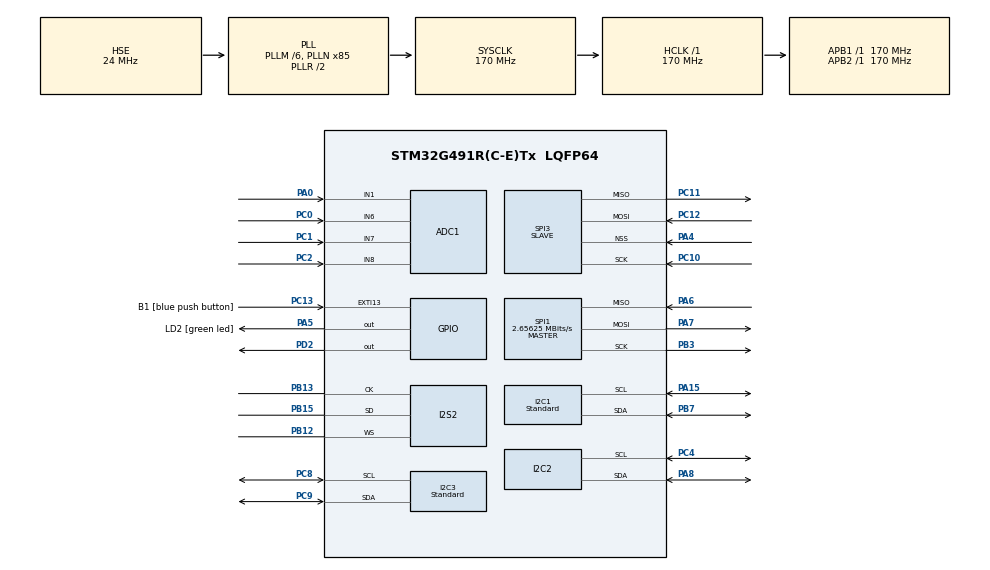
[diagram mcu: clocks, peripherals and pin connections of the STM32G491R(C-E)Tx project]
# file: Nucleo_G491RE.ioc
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ADC1.Channel-0\#ChannelRegularConversion=ADC_CHANNEL_1
ADC1.Channel-1\#ChannelRegularConversion=ADC_CHANNEL_6
ADC1.Channel-2\#ChannelRegularConversion=ADC_CHANNEL_7
ADC1.Channel-3\#ChannelRegularConversion=ADC_CHANNEL_8
ADC1.NbrOfConversion=4
ADC1.NbrOfConversionFlag=1
ADC1.OffsetNumber-0\#ChannelRegularConversion=ADC_OFFSET_NONE
ADC1.OffsetNumber-1\#ChannelRegularConversion=ADC_OFFSET_NONE
ADC1.OffsetNumber-2\#ChannelRegularConversion=ADC_OFFSET_NONE
ADC1.OffsetNumber-3\#ChannelRegularConversion=ADC_OFFSET_NONE
ADC1.Rank-0\#ChannelRegularConversion=1
ADC1.Rank-1\#ChannelRegularConversion=2
ADC1.Rank-2\#ChannelRegularConversion=3
ADC1.Rank-3\#ChannelRegularConversion=4
ADC1.SamplingTime-0\#ChannelRegularConversion=ADC_SAMPLETIME_92CYCLES_5
ADC1.SamplingTime-1\#ChannelRegularConversion=ADC_SAMPLETIME_92CYCLES_5
ADC1.SamplingTime-2\#ChannelRegularConversion=ADC_SAMPLETIME_92CYCLES_5
ADC1.SamplingTime-3\#ChannelRegularConversion=ADC_SAMPLETIME_92CYCLES_5
ADC1.master=1
Dma.Request0=SPI3_RX
Dma.Request1=SPI3_TX
Dma.Request2=SPI2_RX
Dma.SPI2_RX.2.Direction=DMA_PERIPH_TO_MEMORY
Dma.SPI2_RX.2.EventEnable=DISABLE
Dma.SPI2_RX.2.Instance=DMA1_Channel1
Dma.SPI2_RX.2.MemDataAlignment=DMA_MDATAALIGN_HALFWORD
Dma.SPI2_RX.2.MemInc=DMA_MINC_ENABLE
Dma.SPI2_RX.2.Mode=DMA_NORMAL
Dma.SPI2_RX.2.PeriphDataAlignment=DMA_PDATAALIGN_WORD
Dma.SPI2_RX.2.PeriphInc=DMA_PINC_DISABLE
Dma.SPI2_RX.2.Polarity=HAL_DMAMUX_REQ_GEN_RISING
Dma.SPI2_RX.2.Priority=DMA_PRIORITY_LOW
Dma.SPI2_RX.2.RequestNumber=1
Dma.SPI2_RX.2.SignalID=NONE
Dma.SPI2_RX.2.SyncEnable=DISABLE
Dma.SPI2_RX.2.SyncPolarity=HAL_DMAMUX_SYNC_NO_EVENT
Dma.SPI2_RX.2.SyncRequestNumber=1
Dma.SPI2_RX.2.SyncSignalID=NONE
Dma.SPI3_RX.0.Direction=DMA_PERIPH_TO_MEMORY
Dma.SPI3_RX.0.EventEnable=DISABLE
Dma.SPI3_RX.0.Instance=DMA2_Channel1
Dma.SPI3_RX.0.MemDataAlignment=DMA_MDATAALIGN_BYTE
Dma.SPI3_RX.0.MemInc=DMA_MINC_ENABLE
Dma.SPI3_RX.0.Mode=DMA_NORMAL
Dma.SPI3_RX.0.PeriphDataAlignment=DMA_PDATAALIGN_BYTE
Dma.SPI3_RX.0.PeriphInc=DMA_PINC_DISABLE
Dma.SPI3_RX.0.Polarity=HAL_DMAMUX_REQ_GEN_RISING
Dma.SPI3_RX.0.Priority=DMA_PRIORITY_LOW
Dma.SPI3_RX.0.RequestNumber=1
Dma.SPI3_RX.0.SignalID=NONE
Dma.SPI3_RX.0.SyncEnable=DISABLE
Dma.SPI3_RX.0.SyncPolarity=HAL_DMAMUX_SYNC_NO_EVENT
Dma.SPI3_RX.0.SyncRequestNumber=1
Dma.SPI3_RX.0.SyncSignalID=NONE
Dma.SPI3_TX.1.Direction=DMA_MEMORY_TO_PERIPH
Dma.SPI3_TX.1.EventEnable=DISABLE
Dma.SPI3_TX.1.Instance=DMA2_Channel2
Dma.SPI3_TX.1.MemDataAlignment=DMA_MDATAALIGN_BYTE
Dma.SPI3_TX.1.MemInc=DMA_MINC_ENABLE
Dma.SPI3_TX.1.Mode=DMA_NORMAL
Dma.SPI3_TX.1.PeriphDataAlignment=DMA_PDATAALIGN_BYTE
Dma.SPI3_TX.1.PeriphInc=DMA_PINC_DISABLE
Dma.SPI3_TX.1.Polarity=HAL_DMAMUX_REQ_GEN_RISING
Dma.SPI3_TX.1.Priority=DMA_PRIORITY_LOW
Dma.SPI3_TX.1.RequestNumber=1
Dma.SPI3_TX.1.SignalID=NONE
Dma.SPI3_TX.1.SyncEnable=DISABLE
Dma.SPI3_TX.1.SyncPolarity=HAL_DMAMUX_SYNC_NO_EVENT
Dma.SPI3_TX.1.SyncRequestNumber=1
Dma.SPI3_TX.1.SyncSignalID=NONE
FREERTOS.Tasks01=SPIslaveTask,-2,128,StartSPIslaveTask,Default,NULL,Dynamic,NULL,NULL;IdleTask,-3,128,StartIdleTask,Default,NULL,Dynamic,NULL,NULL;IMUTask,-3,256,StartIMUTask,Default,NULL,Dynamic,NULL,NULL;ADCTask,-3,128,StartADCTask,Default,NULL,Dynamic,NULL,NULL;TXBUFFTask,-3,128,StartTXBUFFTask,Default,NULL,Dynamic,NULL,NULL;PSTask,-3,128,StartPSTask,Default,NULL,Dynamic,NULL,NULL;SerialTask,-3,128,StartSerialTask,Default,NULL,Dynamic,NULL,NULL
FREERTOS.Timers01=I2STimer,I2SCallback,osTimerPeriodic,Default,NULL,Dynamic,NULL;SPISlaveTimer,SPISlaveCallback,osTimerPeriodic,Default,NULL,Dynamic,NULL
FREERTOS.configTOTAL_HEAP_SIZE=10000
FREERTOS.configUSE_TIMERS=1
I2C1.I2C_Speed_Mode=I2C_Standard
I2C1.Speed=100
I2C1.Timing=0x30A0A7FB
I2C2.Timing=0x30A0A7FB
I2C3.I2C_Speed_Mode=I2C_Standard
I2C3.Timing=0x30A0A7FB
I2S2.AudioFreq=AudioFreqCustomValue
I2S2.AudioFreqCustom=64000
I2S2.DataFormat=I2S_DATAFORMAT_24B
I2S2.ErrorAudioFreq=-2.34 %
I2S2.FullDuplexMode=I2S_FULLDUPLEXMODE_DISABLE
I2S2.Instance=SPI$Index
I2S2.Mode=I2S_MODE_MASTER_RX
I2S2.RealAudioFreq=62.5 KHz
I2S2.VirtualMode=I2S_MODE_MASTER
Mcu.Family=STM32G4
Mcu.Name=STM32G491R(C-E)Tx
Mcu.Package=LQFP64
NVIC.DMA1_Channel1_IRQn=true\:0\:0\:false\:false\:true\:false\:false\:true
NVIC.DMA2_Channel1_IRQn=true\:5\:0\:false\:false\:true\:true\:false\:true
NVIC.DMA2_Channel2_IRQn=true\:5\:0\:false\:false\:true\:false\:false\:true
NVIC.EXTI15_10_IRQn=true\:5\:0\:false\:false\:true\:true\:true\:true
NVIC.I2C1_EV_IRQn=true\:5\:0\:false\:false\:true\:true\:true\:true
NVIC.I2C3_EV_IRQn=true\:5\:0\:false\:false\:true\:true\:true\:true
NVIC.PriorityGroup=NVIC_PRIORITYGROUP_4
NVIC.SPI2_IRQn=true\:5\:0\:false\:false\:true\:true\:true\:true
NVIC.TIM1_UP_TIM16_IRQn=true\:0\:0\:false\:false\:true\:false\:false\:true
NVIC.TimeBase=TIM1_UP_TIM16_IRQn
NVIC.TimeBaseIP=TIM1
PA0.Mode=IN1-Single-Ended
PA0.Signal=ADC1_IN1
PA13.GPIO_Label=T_SWDIO
PA13.Mode=Serial_Wire
PA13.Signal=SYS_JTMS-SWDIO
PA14.GPIO_Label=T_SWCLK
PA14.Mode=Serial_Wire
PA14.Signal=SYS_JTCK-SWCLK
PA15.Mode=I2C
PA15.Signal=I2C1_SCL
PA3.GPIO_Label=LPUART1_RX [STLINKV3E_VCP_TX]
PA3.Signal=LPUART1_RX
PA4.Mode=NSS_Signal_Hard_Input
PA4.Signal=SPI3_NSS
PA5.GPIO_Label=LD2 [green led]
PA5.Signal=GPIO_Output
PA6.Mode=Full_Duplex_Master
PA6.Signal=SPI1_MISO
PA7.Mode=Full_Duplex_Master
PA7.Signal=SPI1_MOSI
PA8.Mode=I2C
PA8.Signal=I2C2_SDA
PB12.Mode=Half_Duplex_Master
PB12.Signal=I2S2_WS
PB13.Mode=Half_Duplex_Master
PB13.Signal=I2S2_CK
PB14.Signal=SPI2_MISO
PB15.Mode=Half_Duplex_Master
PB15.Signal=I2S2_SD
PB3.Mode=Full_Duplex_Master
PB3.Signal=SPI1_SCK
PB7.Mode=I2C
PB7.Signal=I2C1_SDA
PC0.Mode=IN6-Single-Ended
PC0.Signal=ADC1_IN6
PC1.Mode=IN7-Single-Ended
PC1.Signal=ADC1_IN7
PC10.Mode=Full_Duplex_Slave
PC10.Signal=SPI3_SCK
PC11.Mode=Full_Duplex_Slave
PC11.Signal=SPI3_MISO
PC12.Mode=Full_Duplex_Slave
PC12.Signal=SPI3_MOSI
PC13.GPIO_Label=B1 [blue push button]
PC13.Signal=GPXTI13
PC14-OSC32_IN.Mode=LSE-External-Oscillator
PC14-OSC32_IN.Signal=RCC_OSC32_IN
PC15-OSC32_OUT.Mode=LSE-External-Oscillator
PC15-OSC32_OUT.Signal=RCC_OSC32_OUT
PC2.Mode=IN8-Single-Ended
PC2.Signal=ADC1_IN8
PC4.Mode=I2C
PC4.Signal=I2C2_SCL
PC8.Mode=I2C
PC8.Signal=I2C3_SCL
PC9.Mode=I2C
PC9.Signal=I2C3_SDA
PD2.Signal=GPIO_Output
PF0-OSC_IN.Mode=HSE-External-Oscillator
PF0-OSC_IN.Signal=RCC_OSC_IN
PF1-OSC_OUT.Mode=HSE-External-Oscillator
PF1-OSC_OUT.Signal=RCC_OSC_OUT
ProjectManager.HeapSize=0x200
ProjectManager.StackSize=0x400
ProjectManager.TargetToolchain=STM32CubeIDE
RCC.ADC12Freq_Value=170000000
RCC.ADC345Freq_Value=170000000
RCC.AHBFreq_Value=170000000
RCC.APB1Freq_Value=170000000
RCC.APB1TimFreq_Value=170000000
RCC.APB2Freq_Value=170000000
RCC.APB2TimFreq_Value=170000000
RCC.CortexFreq_Value=170000000
RCC.EXTERNAL_CLOCK_VALUE=12288000
RCC.HCLKFreq_Value=170000000
RCC.HSE_VALUE=24000000
RCC.HSI48_VALUE=48000000
RCC.HSI_VALUE=16000000
RCC.I2SCLockSelection=RCC_I2SCLKSOURCE_HSI
RCC.PLLM=RCC_PLLM_DIV6
RCC.PLLN=85
RCC.PLLSourceVirtual=RCC_PLLSOURCE_HSE
RCC.RTCClockSelection=RCC_RTCCLKSOURCE_LSE
RCC.SYSCLKFreq_VALUE=170000000
RCC.SYSCLKSource=RCC_SYSCLKSOURCE_PLLCLK
RCC.USBFreq_Value=48000000
RCC.VCOOutputFreq_Value=340000000
SPI1.BaudRatePrescaler=SPI_BAUDRATEPRESCALER_64
SPI1.CalculateBaudRate=2.65625 MBits/s
SPI1.Direction=SPI_DIRECTION_2LINES
SPI1.Mode=SPI_MODE_MASTER
SPI1.VirtualType=VM_MASTER
SPI3.Direction=SPI_DIRECTION_2LINES
SPI3.Mode=SPI_MODE_SLAVE
SPI3.VirtualNSS=VM_NSSHARD
SPI3.VirtualType=VM_SLAVE
VP_FREERTOS_VS_CMSIS_V1.Mode=CMSIS_V1
VP_SYS_VS_DBSignals.Mode=DisableDeadBatterySignals
VP_SYS_VS_tim1.Mode=TIM1
VP_TIM2_VS_ClockSourceINT.Mode=Internal
board=NUCLEO-G491RE

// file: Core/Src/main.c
/* USER CODE BEGIN Header */
/**
  ******************************************************************************
  * @file           : main.c
  * @brief          : Main program body
  ******************************************************************************
  * @attention
  *
  * <h2><center>&copy; Copyright (c) 2022 STMicroelectronics.
  * All rights reserved.</center></h2>
  *
  * This software component is licensed by ST under BSD 3-Clause license,
  * the "License"; You may not use this file except in compliance with the
  * License. You may obtain a copy of the License at:
  *                        opensource.org/licenses/BSD-3-Clause
  *
  ******************************************************************************
  */
/* USER CODE END Header */
#include "main.h"
#include "cmsis_os.h"

/* USER CODE BEGIN Includes */
#include "sensor.h"
/* USER CODE END Includes */

ADC_HandleTypeDef hadc1;

I2C_HandleTypeDef hi2c1;
I2C_HandleTypeDef hi2c2;
I2C_HandleTypeDef hi2c3;

I2S_HandleTypeDef hi2s2;
DMA_HandleTypeDef hdma_spi2_rx;

SPI_HandleTypeDef hspi1;
SPI_HandleTypeDef hspi3;
DMA_HandleTypeDef hdma_spi3_rx;
DMA_HandleTypeDef hdma_spi3_tx;

TIM_HandleTypeDef htim2;

osThreadId SPIslaveTaskHandle;
osThreadId IdleTaskHandle;
osThreadId IMUTaskHandle;
osThreadId ADCTaskHandle;
osThreadId TXBUFFTaskHandle;
osThreadId PSTaskHandle;
osThreadId SerialTaskHandle;
osTimerId I2STimerHandle;
osTimerId SPISlaveTimerHandle;
/* USER CODE BEGIN PV */
uint8_t rxBuffer[1] = {};
uint8_t txBuffer[44] = {};
/* USER CODE END PV */

void SystemClock_Config(void);
static void MX_GPIO_Init(void);
static void MX_DMA_Init(void);
static void MX_ADC1_Init(void);
static void MX_I2C1_Init(void);
static void MX_I2C2_Init(void);
static void MX_I2S2_Init(void);
static void MX_SPI3_Init(void);
static void MX_TIM2_Init(void);
static void MX_I2C3_Init(void);
static void MX_SPI1_Init(void);
void StartSPIslaveTask(void const * argument);
void StartIdleTask(void const * argument);
void StartIMUTask(void const * argument);
void StartADCTask(void const * argument);
void StartTXBUFFTask(void const * argument);
void StartPSTask(void const * argument);
void StartSerialTask(void const * argument);
void I2SCallback(void const * argument);
void SPISlaveCallback(void const * argument);

/* USER CODE BEGIN PFP */
void mpuWrite(uint8_t, uint8_t);
void imu_init();
void imu_init_i2c();
void imu_update();
void imu_update_i2c();
void imu_update_i2c_DMA_gyro();
void adc_init();
void adc_update();
void ps_init();
void ps_update();
void txbuff_update();
void *memset();
int sprintf();
/* USER CODE END PFP */

/* USER CODE BEGIN 0 */

// PR2に送信したいuint16型の数字を、uint8型の数字2つに分解する。
// 引数のvalは分解元のuint16型の数字
// 引数のdigitは分解された2つ数字のうち上から何番目を取り出すか
uint8_t decomposeDigit(uint16_t val, uint8_t digit){
	uint8_t num;
	num = val >> ((1 - digit) * 8);
	return num;
}

// PR2に送信したいuint16型の数字を、グローバル変数txBuffer[44]に格納する
// 引数のvalは、PR2に送信したいuint16型の数字
// 引数のidxは、PR2のトピック(/pressure/l(r)_gripper_motor)の配列の何番目にvalを格納するか。
// idx = 0, 1, 2, ... 21
// 44個の要素は2個で1つの数字となり、PR2に送信される。
// 1つの数字を2要素に分解するための関数がdecomposeDigit()
void setTxBuffer(uint16_t val, uint8_t idx) {
	for(int i = 0; i < 2; i++) {
	    txBuffer[idx * 2 + i] = decomposeDigit(val, i);
	}
}

float getTimeUs(uint32_t count)
{
  float us = 1000000 * (float)count / (float)SystemCoreClock;
  return us;
}

float getTimeMs(uint32_t count)
{
  float ms = 1000 * (float)count / (float)SystemCoreClock;
  return ms;
}

/* USER CODE END 0 */

int main(void)
{

  /* MCU Configuration--------------------------------------------------------*/

  /* Reset of all peripherals, Initializes the Flash interface and the Systick. */
  HAL_Init();

  /* Configure the system clock */
  SystemClock_Config();

  /* Initialize all configured peripherals */
  MX_GPIO_Init();
  MX_DMA_Init();
  MX_ADC1_Init();
  MX_I2C1_Init();
  MX_I2C2_Init();
  MX_I2S2_Init();
  MX_SPI3_Init();
  MX_TIM2_Init();
  MX_I2C3_Init();
  MX_SPI1_Init();
  /* USER CODE BEGIN 2 */
  sp.imu_select = SELECT_ICM_42688_SPI;
  sp.flag = 0;
  sp.error_count = 0;
  sp.rx_counter = 0;
  sp.i2c1_dma_flag = 0x00;
  sp.imu_dma_en = 0x00;
  sp.imu_prev_frame = 0;
  sp.imu_count_frame = 0;
  sp.ps_dma[0] = 0;
  sp.ps_dma[1] = 0;
  //HAL_I2S_DeInit(&hi2s2);
  //HAL_I2S_Init(&hi2s2);
  if(sp.imu_select == SELECT_ICM_20600 || sp.imu_select == SELECT_ICM_42605 || sp.imu_select == SELECT_ICM_42688_SPI){
#if IMU_SPI_MODE
	  imu_init(&hspi1);
#endif
  }else if(sp.imu_select == SELECT_ICM_42688_I2C){
	  //imu_init_i2c(&hi2c1);
	  //imu_init_i2c(&hi2c2);
	  imu_init_i2c(&hi2c3);
  }
  ps_init(&hi2c1);
  memset(sp.txbuff, 0, sizeof(sp.txbuff));

  // /pressure/l(r)_gripper_motor values will be
  // [0, 100, 200, 300, ..., 2100]
  for(int i = 0; i < 22; i++) {
	  setTxBuffer(i*100, i);
  }

  for(int i=0;i<3;i++){
	  sp.acc_print[i] = 0;
	  sp.gyro_print[i] = 0;
  }

#if MIC_DMA
  HAL_I2S_Receive_DMA( &hi2s2, (uint16_t*)&sp.i2s_rx_buff, MIC_BUFF_SIZE);
#endif
  //int8_t ret = HAL_I2S_Receive( &hi2s2, (uint16_t*)&sp.i2s_rx_buff, MIC_BUFF_SIZE ,1);

  /* USER CODE END 2 */

  /* Create the timer(s) */
  /* definition and creation of I2STimer */
  osTimerDef(I2STimer, I2SCallback);
  I2STimerHandle = osTimerCreate(osTimer(I2STimer), osTimerPeriodic, NULL);

  /* definition and creation of SPISlaveTimer */
  osTimerDef(SPISlaveTimer, SPISlaveCallback);
  SPISlaveTimerHandle = osTimerCreate(osTimer(SPISlaveTimer), osTimerPeriodic, NULL);

  /* USER CODE BEGIN RTOS_TIMERS */
  //osTimerStart(I2STimerHandle, MIC_PERIOD);
#if	!UPDATE_SINGLE_THREAD
#if MIC_TIMER
  uint32_t period = 2.0 * 1000 * MIC_BUFF_SIZE / (hi2s2.Init.AudioFreq);//[ms]
  //osTimerStart(I2STimerHandle, MIC_PERIOD);
  osTimerStart(I2STimerHandle, period);
#endif
#endif
#if SPI_SLAVE
#if  TIMER_SPISLAVE
  osTimerStart(SPISlaveTimerHandle, SPISLAVE_PERIOD);
#endif
#endif
  /* USER CODE END RTOS_TIMERS */

  /* Create the thread(s) */
  /* definition and creation of SPIslaveTask */
  osThreadDef(SPIslaveTask, StartSPIslaveTask, osPriorityLow, 0, 128);
  SPIslaveTaskHandle = osThreadCreate(osThread(SPIslaveTask), NULL);

  /* definition and creation of IdleTask */
  osThreadDef(IdleTask, StartIdleTask, osPriorityIdle, 0, 128);
  IdleTaskHandle = osThreadCreate(osThread(IdleTask), NULL);

  /* definition and creation of IMUTask */
  osThreadDef(IMUTask, StartIMUTask, osPriorityIdle, 0, 256);
  IMUTaskHandle = osThreadCreate(osThread(IMUTask), NULL);

  /* definition and creation of ADCTask */
  osThreadDef(ADCTask, StartADCTask, osPriorityIdle, 0, 128);
  ADCTaskHandle = osThreadCreate(osThread(ADCTask), NULL);

  /* definition and creation of TXBUFFTask */
  osThreadDef(TXBUFFTask, StartTXBUFFTask, osPriorityIdle, 0, 128);
  TXBUFFTaskHandle = osThreadCreate(osThread(TXBUFFTask), NULL);

  /* definition and creation of PSTask */
  osThreadDef(PSTask, StartPSTask, osPriorityIdle, 0, 128);
  PSTaskHandle = osThreadCreate(osThread(PSTask), NULL);

  /* definition and creation of SerialTask */
  osThreadDef(SerialTask, StartSerialTask, osPriorityIdle, 0, 128);
  SerialTaskHandle = osThreadCreate(osThread(SerialTask), NULL);

  /* USER CODE BEGIN RTOS_THREADS */
  /* add threads, ... */
  int count = 0;
  // https://garberas.com/archives/244
  HAL_TIM_Encoder_Start( &htim2, TIM_CHANNEL_ALL );
#if PS_I2C_DMA
  ps_update(&hi2c1);
#endif
#if IMU_I2C_DMA
  //imu_update_i2c_DMA_gyro(&hi2c1);
  imu_update_i2c_DMA_gyro(&hi2c3);
#endif
#if SPI_SLAVE
#if SPI_SLAVE_DMA
  HAL_SPI_Receive_DMA(&hspi3, sp.rxbuff, 1);
#endif
#endif
  /* USER CODE END RTOS_THREADS */

  /* Start scheduler */
  osKernelStart();

  /* We should never get here as control is now taken by the scheduler */
  /* Infinite loop */
  while (1)
  {

    /* USER CODE BEGIN 3 */
	  /*
	  HAL_GPIO_TogglePin(LD2_GPIO_Port,LD2_Pin);
	  ps_update(&hi2c1);
	  adc_update(&hadc1);
	  imu_update_i2c(&hi2c2);
	  HAL_I2S_Receive( &hi2s2, (uint16_t*)&sp.i2s_rx_buff, MIC_BUFF_SIZE ,1000);
	  for(int i = 0; i < MIC_BUFF_SIZE; i++){
		  sp.i2s_buff_sifted[i] = sp.i2s_rx_buff[i] >> 14;
	  }
	  txbuff_update();
	  if (HAL_SPI_Receive(&hspi3, sp.rxbuff, 1, 1000) != HAL_OK) {
		  uint8_t dummy = sp.rxbuff[0];
	  }
	  if(sp.rxbuff[0] == READ_COMMAND){
		  HAL_SPI_Transmit(&hspi3, sp.txbuff, sizeof(sp.txbuff), 1000);
	  }
	  */
  }
  /* USER CODE END 3 */
}

void SystemClock_Config(void)
{
  RCC_OscInitTypeDef RCC_OscInitStruct = {0};
  RCC_ClkInitTypeDef RCC_ClkInitStruct = {0};
  RCC_PeriphCLKInitTypeDef PeriphClkInit = {0};

  /** Configure the main internal regulator output voltage
  */
  HAL_PWREx_ControlVoltageScaling(PWR_REGULATOR_VOLTAGE_SCALE1_BOOST);
  /** Initializes the RCC Oscillators according to the specified parameters
  * in the RCC_OscInitTypeDef structure.
  */
  RCC_OscInitStruct.OscillatorType = RCC_OSCILLATORTYPE_HSI|RCC_OSCILLATORTYPE_HSE;
  RCC_OscInitStruct.HSEState = RCC_HSE_ON;
  RCC_OscInitStruct.HSIState = RCC_HSI_ON;
  RCC_OscInitStruct.HSICalibrationValue = RCC_HSICALIBRATION_DEFAULT;
  RCC_OscInitStruct.PLL.PLLState = RCC_PLL_ON;
  RCC_OscInitStruct.PLL.PLLSource = RCC_PLLSOURCE_HSE;
  RCC_OscInitStruct.PLL.PLLM = RCC_PLLM_DIV6;
  RCC_OscInitStruct.PLL.PLLN = 85;
  RCC_OscInitStruct.PLL.PLLP = RCC_PLLP_DIV2;
  RCC_OscInitStruct.PLL.PLLQ = RCC_PLLQ_DIV2;
  RCC_OscInitStruct.PLL.PLLR = RCC_PLLR_DIV2;
  if (HAL_RCC_OscConfig(&RCC_OscInitStruct) != HAL_OK)
  {
    Error_Handler();
  }
  /** Initializes the CPU, AHB and APB buses clocks
  */
  RCC_ClkInitStruct.ClockType = RCC_CLOCKTYPE_HCLK|RCC_CLOCKTYPE_SYSCLK
                              |RCC_CLOCKTYPE_PCLK1|RCC_CLOCKTYPE_PCLK2;
  RCC_ClkInitStruct.SYSCLKSource = RCC_SYSCLKSOURCE_PLLCLK;
  RCC_ClkInitStruct.AHBCLKDivider = RCC_SYSCLK_DIV1;
  RCC_ClkInitStruct.APB1CLKDivider = RCC_HCLK_DIV1;
  RCC_ClkInitStruct.APB2CLKDivider = RCC_HCLK_DIV1;

  if (HAL_RCC_ClockConfig(&RCC_ClkInitStruct, FLASH_LATENCY_4) != HAL_OK)
  {
    Error_Handler();
  }
  /** Initializes the peripherals clocks
  */
  PeriphClkInit.PeriphClockSelection = RCC_PERIPHCLK_I2C1|RCC_PERIPHCLK_I2C2
                              |RCC_PERIPHCLK_I2C3|RCC_PERIPHCLK_I2S
                              |RCC_PERIPHCLK_ADC12;
  PeriphClkInit.I2c1ClockSelection = RCC_I2C1CLKSOURCE_PCLK1;
  PeriphClkInit.I2c2ClockSelection = RCC_I2C2CLKSOURCE_PCLK1;
  PeriphClkInit.I2c3ClockSelection = RCC_I2C3CLKSOURCE_PCLK1;
  PeriphClkInit.I2sClockSelection = RCC_I2SCLKSOURCE_HSI;
  PeriphClkInit.Adc12ClockSelection = RCC_ADC12CLKSOURCE_SYSCLK;
  if (HAL_RCCEx_PeriphCLKConfig(&PeriphClkInit) != HAL_OK)
  {
    Error_Handler();
  }
}

static void MX_ADC1_Init(void)
{

  ADC_MultiModeTypeDef multimode = {0};
  ADC_ChannelConfTypeDef sConfig = {0};

  /** Common config
  */
  hadc1.Instance = ADC1;
  hadc1.Init.ClockPrescaler = ADC_CLOCK_SYNC_PCLK_DIV4;
  hadc1.Init.Resolution = ADC_RESOLUTION_12B;
  hadc1.Init.DataAlign = ADC_DATAALIGN_RIGHT;
  hadc1.Init.GainCompensation = 0;
  hadc1.Init.ScanConvMode = ADC_SCAN_ENABLE;
  hadc1.Init.EOCSelection = ADC_EOC_SINGLE_CONV;
  hadc1.Init.LowPowerAutoWait = DISABLE;
  hadc1.Init.ContinuousConvMode = DISABLE;
  hadc1.Init.NbrOfConversion = 4;
  hadc1.Init.DiscontinuousConvMode = DISABLE;
  hadc1.Init.ExternalTrigConv = ADC_SOFTWARE_START;
  hadc1.Init.ExternalTrigConvEdge = ADC_EXTERNALTRIGCONVEDGE_NONE;
  hadc1.Init.DMAContinuousRequests = DISABLE;
  hadc1.Init.Overrun = ADC_OVR_DATA_PRESERVED;
  hadc1.Init.OversamplingMode = DISABLE;
  if (HAL_ADC_Init(&hadc1) != HAL_OK)
  {
    Error_Handler();
  }
  /** Configure the ADC multi-mode
  */
  multimode.Mode = ADC_MODE_INDEPENDENT;
  if (HAL_ADCEx_MultiModeConfigChannel(&hadc1, &multimode) != HAL_OK)
  {
    Error_Handler();
  }
  /** Configure Regular Channel
  */
  sConfig.Channel = ADC_CHANNEL_1;
  sConfig.Rank = ADC_REGULAR_RANK_1;
  sConfig.SamplingTime = ADC_SAMPLETIME_92CYCLES_5;
  sConfig.SingleDiff = ADC_SINGLE_ENDED;
  sConfig.OffsetNumber = ADC_OFFSET_NONE;
  sConfig.Offset = 0;
  if (HAL_ADC_ConfigChannel(&hadc1, &sConfig) != HAL_OK)
  {
    Error_Handler();
  }
  /** Configure Regular Channel
  */
  sConfig.Channel = ADC_CHANNEL_6;
  sConfig.Rank = ADC_REGULAR_RANK_2;
  if (HAL_ADC_ConfigChannel(&hadc1, &sConfig) != HAL_OK)
  {
    Error_Handler();
  }
  /** Configure Regular Channel
  */
  sConfig.Channel = ADC_CHANNEL_7;
  sConfig.Rank = ADC_REGULAR_RANK_3;
  if (HAL_ADC_ConfigChannel(&hadc1, &sConfig) != HAL_OK)
  {
    Error_Handler();
  }
  /** Configure Regular Channel
  */
  sConfig.Channel = ADC_CHANNEL_8;
  sConfig.Rank = ADC_REGULAR_RANK_4;
  if (HAL_ADC_ConfigChannel(&hadc1, &sConfig) != HAL_OK)
  {
    Error_Handler();
  }

}

static void MX_I2C1_Init(void)
{

  hi2c1.Instance = I2C1;
  hi2c1.Init.Timing = 0x30A0A7FB;
  hi2c1.Init.OwnAddress1 = 0;
  hi2c1.Init.AddressingMode = I2C_ADDRESSINGMODE_7BIT;
  hi2c1.Init.DualAddressMode = I2C_DUALADDRESS_DISABLE;
  hi2c1.Init.OwnAddress2 = 0;
  hi2c1.Init.OwnAddress2Masks = I2C_OA2_NOMASK;
  hi2c1.Init.GeneralCallMode = I2C_GENERALCALL_DISABLE;
  hi2c1.Init.NoStretchMode = I2C_NOSTRETCH_DISABLE;
  if (HAL_I2C_Init(&hi2c1) != HAL_OK)
  {
    Error_Handler();
  }
  /** Configure Analogue filter
  */
  if (HAL_I2CEx_ConfigAnalogFilter(&hi2c1, I2C_ANALOGFILTER_ENABLE) != HAL_OK)
  {
    Error_Handler();
  }
  /** Configure Digital filter
  */
  if (HAL_I2CEx_ConfigDigitalFilter(&hi2c1, 0) != HAL_OK)
  {
    Error_Handler();
  }

}

static void MX_I2C2_Init(void)
{

  hi2c2.Instance = I2C2;
  hi2c2.Init.Timing = 0x30A0A7FB;
  hi2c2.Init.OwnAddress1 = 0;
  hi2c2.Init.AddressingMode = I2C_ADDRESSINGMODE_7BIT;
  hi2c2.Init.DualAddressMode = I2C_DUALADDRESS_DISABLE;
  hi2c2.Init.OwnAddress2 = 0;
  hi2c2.Init.OwnAddress2Masks = I2C_OA2_NOMASK;
  hi2c2.Init.GeneralCallMode = I2C_GENERALCALL_DISABLE;
  hi2c2.Init.NoStretchMode = I2C_NOSTRETCH_DISABLE;
  if (HAL_I2C_Init(&hi2c2) != HAL_OK)
  {
    Error_Handler();
  }
  /** Configure Analogue filter
  */
  if (HAL_I2CEx_ConfigAnalogFilter(&hi2c2, I2C_ANALOGFILTER_ENABLE) != HAL_OK)
  {
    Error_Handler();
  }
  /** Configure Digital filter
  */
  if (HAL_I2CEx_ConfigDigitalFilter(&hi2c2, 0) != HAL_OK)
  {
    Error_Handler();
  }

}

static void MX_I2C3_Init(void)
{

  hi2c3.Instance = I2C3;
  hi2c3.Init.Timing = 0x30A0A7FB;
  hi2c3.Init.OwnAddress1 = 0;
  hi2c3.Init.AddressingMode = I2C_ADDRESSINGMODE_7BIT;
  hi2c3.Init.DualAddressMode = I2C_DUALADDRESS_DISABLE;
  hi2c3.Init.OwnAddress2 = 0;
  hi2c3.Init.OwnAddress2Masks = I2C_OA2_NOMASK;
  hi2c3.Init.GeneralCallMode = I2C_GENERALCALL_DISABLE;
  hi2c3.Init.NoStretchMode = I2C_NOSTRETCH_DISABLE;
  if (HAL_I2C_Init(&hi2c3) != HAL_OK)
  {
    Error_Handler();
  }
  /** Configure Analogue filter
  */
  if (HAL_I2CEx_ConfigAnalogFilter(&hi2c3, I2C_ANALOGFILTER_ENABLE) != HAL_OK)
  {
    Error_Handler();
  }
  /** Configure Digital filter
  */
  if (HAL_I2CEx_ConfigDigitalFilter(&hi2c3, 0) != HAL_OK)
  {
    Error_Handler();
  }

}

static void MX_I2S2_Init(void)
{

  hi2s2.Instance = SPI2;
  hi2s2.Init.Mode = I2S_MODE_MASTER_RX;
  hi2s2.Init.Standard = I2S_STANDARD_PHILIPS;
  hi2s2.Init.DataFormat = I2S_DATAFORMAT_24B;
  hi2s2.Init.MCLKOutput = I2S_MCLKOUTPUT_DISABLE;
  hi2s2.Init.AudioFreq = 64000;
  hi2s2.Init.CPOL = I2S_CPOL_LOW;
  if (HAL_I2S_Init(&hi2s2) != HAL_OK)
  {
    Error_Handler();
  }

}

static void MX_SPI1_Init(void)
{

  /* SPI1 parameter configuration*/
  hspi1.Instance = SPI1;
  hspi1.Init.Mode = SPI_MODE_MASTER;
  hspi1.Init.Direction = SPI_DIRECTION_2LINES;
  hspi1.Init.DataSize = SPI_DATASIZE_8BIT;
  hspi1.Init.CLKPolarity = SPI_POLARITY_LOW;
  hspi1.Init.CLKPhase = SPI_PHASE_1EDGE;
  hspi1.Init.NSS = SPI_NSS_SOFT;
  hspi1.Init.BaudRatePrescaler = SPI_BAUDRATEPRESCALER_64;
  hspi1.Init.FirstBit = SPI_FIRSTBIT_MSB;
  hspi1.Init.TIMode = SPI_TIMODE_DISABLE;
  hspi1.Init.CRCCalculation = SPI_CRCCALCULATION_DISABLE;
  hspi1.Init.CRCPolynomial = 7;
  hspi1.Init.CRCLength = SPI_CRC_LENGTH_DATASIZE;
  hspi1.Init.NSSPMode = SPI_NSS_PULSE_ENABLE;
  if (HAL_SPI_Init(&hspi1) != HAL_OK)
  {
    Error_Handler();
  }

}

static void MX_SPI3_Init(void)
{

  /* SPI3 parameter configuration*/
  hspi3.Instance = SPI3;
  hspi3.Init.Mode = SPI_MODE_SLAVE;
  hspi3.Init.Direction = SPI_DIRECTION_2LINES;
  hspi3.Init.DataSize = SPI_DATASIZE_8BIT;
  hspi3.Init.CLKPolarity = SPI_POLARITY_LOW;
  hspi3.Init.CLKPhase = SPI_PHASE_1EDGE;
  hspi3.Init.NSS = SPI_NSS_HARD_INPUT;
  hspi3.Init.FirstBit = SPI_FIRSTBIT_MSB;
  hspi3.Init.TIMode = SPI_TIMODE_DISABLE;
  hspi3.Init.CRCCalculation = SPI_CRCCALCULATION_DISABLE;
  hspi3.Init.CRCPolynomial = 7;
  hspi3.Init.CRCLength = SPI_CRC_LENGTH_DATASIZE;
  hspi3.Init.NSSPMode = SPI_NSS_PULSE_DISABLE;
  if (HAL_SPI_Init(&hspi3) != HAL_OK)
  {
    Error_Handler();
  }

}

static void MX_TIM2_Init(void)
{

  TIM_ClockConfigTypeDef sClockSourceConfig = {0};
  TIM_MasterConfigTypeDef sMasterConfig = {0};

  htim2.Instance = TIM2;
  htim2.Init.Prescaler = 0;
  htim2.Init.CounterMode = TIM_COUNTERMODE_UP;
  htim2.Init.Period = 4.294967295E9;
  htim2.Init.ClockDivision = TIM_CLOCKDIVISION_DIV1;
  htim2.Init.AutoReloadPreload = TIM_AUTORELOAD_PRELOAD_DISABLE;
  if (HAL_TIM_Base_Init(&htim2) != HAL_OK)
  {
    Error_Handler();
  }
  sClockSourceConfig.ClockSource = TIM_CLOCKSOURCE_INTERNAL;
  if (HAL_TIM_ConfigClockSource(&htim2, &sClockSourceConfig) != HAL_OK)
  {
    Error_Handler();
  }
  sMasterConfig.MasterOutputTrigger = TIM_TRGO_RESET;
  sMasterConfig.MasterSlaveMode = TIM_MASTERSLAVEMODE_DISABLE;
  if (HAL_TIMEx_MasterConfigSynchronization(&htim2, &sMasterConfig) != HAL_OK)
  {
    Error_Handler();
  }

}

static void MX_DMA_Init(void)
{

  /* DMA controller clock enable */
  __HAL_RCC_DMAMUX1_CLK_ENABLE();
  __HAL_RCC_DMA2_CLK_ENABLE();
  __HAL_RCC_DMA1_CLK_ENABLE();

  /* DMA interrupt init */
  /* DMA1_Channel1_IRQn interrupt configuration */
  HAL_NVIC_SetPriority(DMA1_Channel1_IRQn, 0, 0);
  HAL_NVIC_EnableIRQ(DMA1_Channel1_IRQn);
  /* DMA2_Channel1_IRQn interrupt configuration */
  HAL_NVIC_SetPriority(DMA2_Channel1_IRQn, 5, 0);
  HAL_NVIC_EnableIRQ(DMA2_Channel1_IRQn);
  /* DMA2_Channel2_IRQn interrupt configuration */
  HAL_NVIC_SetPriority(DMA2_Channel2_IRQn, 5, 0);
  HAL_NVIC_EnableIRQ(DMA2_Channel2_IRQn);

}

static void MX_GPIO_Init(void)
{
  GPIO_InitTypeDef GPIO_InitStruct = {0};

  /* GPIO Ports Clock Enable */
  __HAL_RCC_GPIOC_CLK_ENABLE();
  __HAL_RCC_GPIOF_CLK_ENABLE();
  __HAL_RCC_GPIOA_CLK_ENABLE();
  __HAL_RCC_GPIOB_CLK_ENABLE();
  __HAL_RCC_GPIOD_CLK_ENABLE();

  /*Configure GPIO pin Output Level */
  HAL_GPIO_WritePin(LD2_GPIO_Port, LD2_Pin, GPIO_PIN_RESET);

  /*Configure GPIO pin Output Level */
  HAL_GPIO_WritePin(GPIOD, GPIO_PIN_2, GPIO_PIN_RESET);

  /*Configure GPIO pin : B1_Pin */
  GPIO_InitStruct.Pin = B1_Pin;
  GPIO_InitStruct.Mode = GPIO_MODE_IT_RISING;
  GPIO_InitStruct.Pull = GPIO_NOPULL;
  HAL_GPIO_Init(B1_GPIO_Port, &GPIO_InitStruct);

  /*Configure GPIO pin : LPUART1_RX_Pin */
  GPIO_InitStruct.Pin = LPUART1_RX_Pin;
  GPIO_InitStruct.Mode = GPIO_MODE_AF_PP;
  GPIO_InitStruct.Pull = GPIO_NOPULL;
  GPIO_InitStruct.Speed = GPIO_SPEED_FREQ_LOW;
  GPIO_InitStruct.Alternate = GPIO_AF12_LPUART1;
  HAL_GPIO_Init(LPUART1_RX_GPIO_Port, &GPIO_InitStruct);

  /*Configure GPIO pin : LD2_Pin */
  GPIO_InitStruct.Pin = LD2_Pin;
  GPIO_InitStruct.Mode = GPIO_MODE_OUTPUT_PP;
  GPIO_InitStruct.Pull = GPIO_NOPULL;
  GPIO_InitStruct.Speed = GPIO_SPEED_FREQ_LOW;
  HAL_GPIO_Init(LD2_GPIO_Port, &GPIO_InitStruct);

  /*Configure GPIO pin : PB14 */
  GPIO_InitStruct.Pin = GPIO_PIN_14;
  GPIO_InitStruct.Mode = GPIO_MODE_AF_PP;
  GPIO_InitStruct.Pull = GPIO_NOPULL;
  GPIO_InitStruct.Speed = GPIO_SPEED_FREQ_LOW;
  GPIO_InitStruct.Alternate = GPIO_AF5_SPI2;
  HAL_GPIO_Init(GPIOB, &GPIO_InitStruct);

  /*Configure GPIO pin : PD2 */
  GPIO_InitStruct.Pin = GPIO_PIN_2;
  GPIO_InitStruct.Mode = GPIO_MODE_OUTPUT_PP;
  GPIO_InitStruct.Pull = GPIO_NOPULL;
  GPIO_InitStruct.Speed = GPIO_SPEED_FREQ_LOW;
  HAL_GPIO_Init(GPIOD, &GPIO_InitStruct);

  /* EXTI interrupt init*/
  HAL_NVIC_SetPriority(EXTI15_10_IRQn, 5, 0);
  HAL_NVIC_EnableIRQ(EXTI15_10_IRQn);

}

/* USER CODE BEGIN 4 */
void HAL_I2S_RxCpltCallback(I2S_HandleTypeDef *hi2s) {
	// Send I2S data to serial monitor
    for(int i = 0; i < MIC_BUFF_SIZE; i++){
    	sp.i2s_buff_sifted[i] = sp.i2s_rx_buff[i] >> 14;
    }
    //sprintf(buffer, "buff[0]:%d buff[1]:%d buff[2]:%d buff[3]:%d \r\n", buff_sifted[0], buff_sifted[1], buff_sifted[2], buff_sifted[3]);
    //HAL_UART_Transmit(&hlpuart1, buffer, 1024, 10);
    // Receive I2S data again
    HAL_I2S_Receive_DMA( hi2s, (uint16_t*)&sp.i2s_rx_buff, MIC_BUFF_SIZE);
    //HAL_I2S_Receive_DMA( hi2s, (uint16_t*)&I2S_RX_BUFFER, MIC_BUFF_SIZE);
}

void HAL_SPI_RxCpltCallback(SPI_HandleTypeDef *hspi) {
	// hspi3: PR2 SPI slave
	if (hspi->Instance == SPI3) {
	  if(sp.rxbuff[0] == READ_COMMAND){
		  sp.rx_counter += 1;
		  //taskENTER_CRITICAL();
		  HAL_SPI_Transmit_DMA(hspi, sp.txbuff, sizeof(sp.txbuff));
		  //taskEXIT_CRITICAL();
	  }else{
		  sp.error_count += 1;
		  HAL_SPI_Receive_DMA(hspi, sp.rxbuff, 1);
	  }
	}
}

void HAL_SPI_TxCpltCallback(SPI_HandleTypeDef *hspi) {
	// hspi3: PR2 SPI slave
	if (hspi->Instance == SPI3) {
	  HAL_SPI_Receive_DMA(hspi, sp.rxbuff, 1);
	}
}
/* USER CODE END 4 */

void StartSPIslaveTask(void const * argument)
{
  /* USER CODE BEGIN 5 */
  /* Infinite loop */
  for(;;)
  {
#if SPI_SLAVE
#if UPDATE_SINGLE_THREAD & !TIMER_SPISLAVE
	  HAL_GPIO_TogglePin(LD2_GPIO_Port,LD2_Pin);

	  //imu_update_i2c(&hi2c2);
	  //if(sp.flag == 1){
	  uint32_t freqCount = htim2.Instance->CNT;
	  float start_time_us = getTimeUs(freqCount);
	  imu_update_i2c(&hi2c1);
	  freqCount = htim2.Instance->CNT;
	  sp.imu_elapsed_time = getTimeUs(freqCount) - start_time_us;

	  //sp.flag = 0;
		  //HAL_I2S_Init(&hi2s2);
	  //}
	  //HAL_Delay(6);
	  freqCount = htim2.Instance->CNT;
	  start_time_us = getTimeUs(freqCount);
	  ps_update(&hi2c1);
	  freqCount = htim2.Instance->CNT;
	  sp.ps_elapsed_time = getTimeUs(freqCount) - start_time_us;

	  freqCount = htim2.Instance->CNT;
	  start_time_us = getTimeUs(freqCount);
	  adc_update(&hadc1);
	  freqCount = htim2.Instance->CNT;
	  sp.adc_elapsed_time = getTimeUs(freqCount) - start_time_us;

	  //if(sp.flag == 0){
		  //int8_t ret = HAL_I2S_Receive(&hi2s2, (uint16_t*)&sp.i2s_rx_buff, MIC_BUFF_SIZE ,1000);
		  //HAL_I2S_DeInit(&hi2s2);
		  //int8_t ret = HAL_OK;
		  //if(ret == HAL_OK){
		  //for(int i = 0; i < MIC_BUFF_SIZE; i++){
			  //sp.i2s_buff_sifted[i] = sp.i2s_rx_buff[i] >> 14;
		  //}
		  //}
		  //sp.flag = 1;
	  //}
	  //HAL_Delay(10);

#endif

#if !SPI_SLAVE_DMA
#if !TIMER_SPISLAVE
#if SPI_SLAVE_SENSOR_EN
	  //if (HAL_SPI_Receive(&hspi3, sp.rxbuff, 1, 1000) != HAL_OK) {
	  if (HAL_SPI_Receive(&hspi3, sp.rxbuff, 1, 1000) != HAL_OK) {
		  uint8_t dummy = sp.rxbuff[0];
	  }
	  if(sp.rxbuff[0] == READ_COMMAND){
		  sp.rx_counter += 1;
		  /*
		  if (HAL_SPI_Transmit(&hspi3, sp.txbuff, sizeof(sp.txbuff), 1000) != HAL_OK) {
			  printf("HAL_SPI_Transmit failed.\r\n");
		  }*/
		  txbuff_update();
		  taskENTER_CRITICAL();
		  //delayUs(10);
		  HAL_SPI_Transmit(&hspi3, sp.txbuff, sizeof(sp.txbuff), 2000);
		  taskEXIT_CRITICAL();
	  }else{
		  sp.error_count += 1;
		  //if(sp.error_count > 0){
			  //HAL_SPI_DeInit(&hspi3);
			  //MX_SPI3_Init();
			  ///sp.error_count = 0;
		  //}
	  }
#else
	  if (HAL_SPI_Receive(&hspi3, rxBuffer, 1, 1000) != HAL_OK) {
		  uint8_t dummy = rxBuffer[0];
	  }
	  if(rxBuffer[0] == READ_COMMAND){
		  /*
		  if (HAL_SPI_Transmit(&hspi3, txBuffer, sizeof(txBuffer), 1000) != HAL_OK) {
			  printf("HAL_SPI_Transmit failed.\r\n");
		  }*/
		  taskENTER_CRITICAL();
		  HAL_SPI_Transmit(&hspi3, txBuffer, sizeof(txBuffer), 1000);
		  taskEXIT_CRITICAL();
	  }
#endif
#endif
#endif
#endif
//	  osDelay(1);
	  osDelay(30);
  }
  /* USER CODE END 5 */
}

void StartIdleTask(void const * argument)
{
  /* USER CODE BEGIN StartIdleTask */
  /* Infinite loop */
  for(;;)
  {
#if !UPDATE_SINGLE_THREAD
	  HAL_GPIO_TogglePin(LD2_GPIO_Port,LD2_Pin);
#endif
	  osDelay(1 + sp.adc_print[0] / 10);//adc read sample
  }
  /* USER CODE END StartIdleTask */
}

void StartIMUTask(void const * argument)
{
  /* USER CODE BEGIN StartIMUTask */
  /* Infinite loop */
  for(;;)
  {
#if !UPDATE_SINGLE_THREAD
	  if(sp.imu_select == SELECT_ICM_20600 || sp.imu_select == SELECT_ICM_42605 || sp.imu_select == SELECT_ICM_42688_SPI){
#if IMU_SPI_MODE
		  uint32_t freqCount = htim2.Instance->CNT;
		  float start_time_us = getTimeUs(freqCount);
		  imu_update(&hspi1);
		  freqCount = htim2.Instance->CNT;
		  sp.imu_elapsed_time = getTimeUs(freqCount) - start_time_us;
#endif
	  }else if(sp.imu_select == SELECT_ICM_42688_I2C){
#if !IMU_I2C_DMA
		  //uint32_t freqCount = htim2.Instance->CNT;
		  //float start_time_us = getTimeUs(freqCount);
		  //imu_update_i2c(&hi2c1);
		  //imu_update_i2c(&hi2c2);
		  imu_update_i2c(&hi2c3);
		  //freqCount = htim2.Instance->CNT;
		  //sp.imu_elapsed_time = getTimeUs(freqCount) - start_time_us;
#else
		  /*
		  sp.imu_count_frame = getUs() - sp.imu_prev_frame;
		  if(sp.imu_dma_en == 0 || sp.imu_count_frame > 100000){
			  sp.imu_prev_frame = getUs();
			  imu_update_i2c_DMA_gyro(&hi2c1);
			  sp.imu_dma_en = 1;
		  }
		  */
#endif
	  }
#endif
	  osDelay(1);
  }
  /* USER CODE END StartIMUTask */
}

void StartADCTask(void const * argument)
{
  /* USER CODE BEGIN StartADCTask */
  /* Infinite loop */
  for(;;)
  {
#if !UPDATE_SINGLE_THREAD
	  uint32_t freqCount = htim2.Instance->CNT;
	  float start_time_us = getTimeUs(freqCount);
	  adc_update(&hadc1);
	  freqCount = htim2.Instance->CNT;
	  sp.adc_elapsed_time = getTimeUs(freqCount) - start_time_us;
#endif
	  osDelay(1);
  }
  /* USER CODE END StartADCTask */
}

void StartTXBUFFTask(void const * argument)
{
  /* USER CODE BEGIN StartTXBUFFTask */
  /* Infinite loop */
  for(;;)
  {
#if !UPDATE_SINGLE_THREAD
	  txbuff_update();
#endif
	  osDelay(1);
  }
  /* USER CODE END StartTXBUFFTask */
}

void StartPSTask(void const * argument)
{
  /* USER CODE BEGIN StartPSTask */
  /* Infinite loop */
  for(;;)
  {
#if !PS_I2C_DMA
#if !UPDATE_SINGLE_THREAD
	  uint32_t freqCount = htim2.Instance->CNT;
	  float start_time_us = getTimeUs(freqCount);
	  ps_update(&hi2c1);
	  freqCount = htim2.Instance->CNT;
	  sp.ps_elapsed_time = getTimeUs(freqCount) - start_time_us;
#endif
#endif
    osDelay(1);
  }
  /* USER CODE END StartPSTask */
}

void StartSerialTask(void const * argument)
{
  /* USER CODE BEGIN StartSerialTask */
	sp.count = 0;
  /* Infinite loop */
  for(;;)
  {
#if DEBUG_EN
	  sprintf(acc_buffer, "imu_en:%d acc[0]:%d acc[1]:%d acc[2]:%d\r\n", sp.imu_en, sp.acc_print[0], sp.acc_print[1], sp.acc_print[2]);
	  //sprintf(acc_buffer, "acc[0]:%d acc[1]:%d acc[2]:%d\r\n", sp.count, sp.acc_print[1], sp.acc_print[2]);
	  sprintf(gyro_buffer, "gyro[0]:%d gyro[1]:%d gyro[2]:%d\r\n", sp.gyro_print[0], sp.gyro_print[1], sp.gyro_print[2]);
	  sprintf(adc_buffer, "adc[0]:%d adc[1]:%d adc[2]:%d adc[3]:%d\r\n", sp.adc_print[0], sp.adc_print[1], sp.adc_print[2], sp.adc_print[3]);
	  sprintf(i2s_buffer, "i2s[0]:%d i2s[1]:%d i2s[2]:%d i2s[3]:%d\r\n", sp.i2s_buff_sifted[0], sp.i2s_buff_sifted[1], sp.i2s_buff_sifted[2], sp.i2s_buff_sifted[3]);
	  sprintf(ps_buffer, "ps[0]:%d\r\n", sp.ps_print[0]);
	  sprintf(debug_buffer, "%s%s%s%s%s\r\n", acc_buffer, gyro_buffer, adc_buffer, i2s_buffer, ps_buffer);
	  HAL_UART_Transmit(&hlpuart1, debug_buffer, 2048, 100);
	  sp.count += 1;
	  if(sp.count == 30){
		  sp.count = 0;
	  }
#endif
	  // 2000[ms] is very important value.
	  // Changing delay time or adding HAL_Delay causes I2S reading error.
	  osDelay(SERIAL_PERIOD);
  }
  /* USER CODE END StartSerialTask */
}

/* I2SCallback function */
void I2SCallback(void const * argument)
{
  /* USER CODE BEGIN I2SCallback */
	  //HAL_Delay(MIC_PERIOD / 2);

	uint32_t freqCount = htim2.Instance->CNT;
	//HAL_I2S_Init(&hi2s2);
	//HAL_Delay(200);
	float start_time_us = getTimeUs(freqCount);

	  //int8_t ret = HAL_I2S_Receive( &hi2s2, (uint16_t*)&sp.i2s_rx_buff, MIC_BUFF_SIZE ,1000);
	taskENTER_CRITICAL();
	int8_t ret = HAL_I2S_Receive( &hi2s2, (uint16_t*)&sp.i2s_rx_buff, MIC_BUFF_SIZE ,1000);
	taskEXIT_CRITICAL();
	  //HAL_I2S_DeInit(&hi2s2);
	  freqCount = htim2.Instance->CNT;
	  sp.mic_elapsed_time = getTimeUs(freqCount) - start_time_us;
	  if(ret == HAL_OK){
		  for(int i = 0; i < MIC_BUFF_SIZE; i++){
			  sp.i2s_buff_sifted[i] = sp.i2s_rx_buff[i] >> 14;
		  }
	  }

	  //uint32_t freqCount = htim2.Instance->CNT;
	  //float start_time_us = getTimeUs(freqCount);
	  //imu_update_i2c(&hi2c2);
	  //imu_update_i2c(&hi2c1);
	  //HAL_Delay(6);
	  //freqCount = htim2.Instance->CNT;
	  //sp.imu_elapsed_time = getTimeUs(freqCount) - start_time_us;
	  //osDelay(MIC_PERIOD / 2);
	  //HAL_Delay(MIC_PERIOD / 2);

  /* USER CODE END I2SCallback */
}

/* SPISlaveCallback function */
void SPISlaveCallback(void const * argument)
{
  /* USER CODE BEGIN SPISlaveCallback */
#if UPDATE_SINGLE_THREAD
	  HAL_SPI_Receive(&hspi3, sp.rxbuff, 1, 1000);
	  if(sp.rxbuff[0] == READ_COMMAND){
		  // taskENTER_CRITICAL();
		  HAL_SPI_Transmit(&hspi3, sp.txbuff, sizeof(sp.txbuff), 1000);
		  // taskEXIT_CRITICAL();
	  }

	  int8_t ret = HAL_I2S_Receive( &hi2s2, (uint16_t*)&sp.i2s_rx_buff, MIC_BUFF_SIZE ,1000);
	  if(ret == HAL_OK){
		  for(int i = 0; i < MIC_BUFF_SIZE; i++){
			  sp.i2s_buff_sifted[i] = sp.i2s_rx_buff[i] >> 14;
		  }
	  }
#endif
	  osDelay(SPISLAVE_PERIOD / 2);

  /* USER CODE END SPISlaveCallback */
}

 /**
  * @brief  Period elapsed callback in non blocking mode
  * @note   This function is called  when TIM1 interrupt took place, inside
  * HAL_TIM_IRQHandler(). It makes a direct call to HAL_IncTick() to increment
  * a global variable "uwTick" used as application time base.
  * @param  htim : TIM handle
  * @retval None
  */
void HAL_TIM_PeriodElapsedCallback(TIM_HandleTypeDef *htim)
{
  if (htim->Instance == TIM1) {
    HAL_IncTick();
  }
}

void Error_Handler(void)
{
  __disable_irq();
  while (1)
  {
  }
}

/************************ (C) COPYRIGHT STMicroelectronics *****END OF FILE****/
